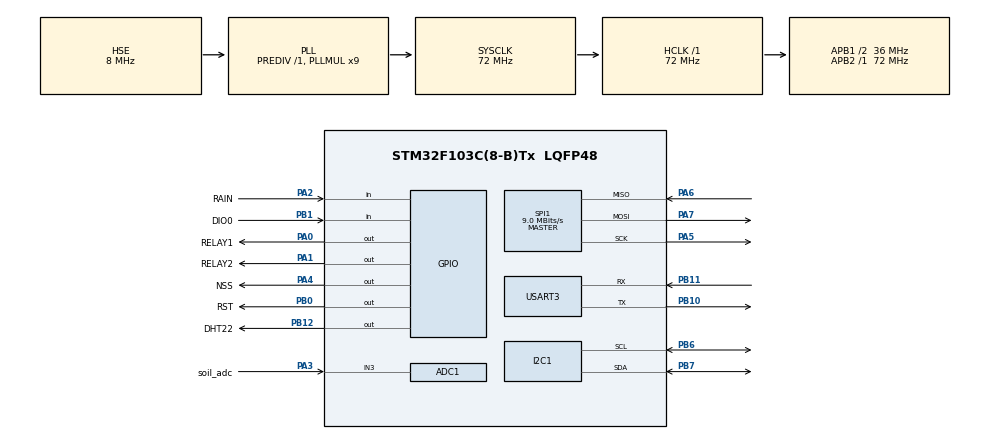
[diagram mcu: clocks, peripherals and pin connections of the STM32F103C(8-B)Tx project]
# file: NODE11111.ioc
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ADC1.Channel-1\#ChannelRegularConversion=ADC_CHANNEL_3
ADC1.ContinuousConvMode=ENABLE
ADC1.NbrOfConversionFlag=1
ADC1.Rank-1\#ChannelRegularConversion=1
ADC1.SamplingTime-1\#ChannelRegularConversion=ADC_SAMPLETIME_1CYCLE_5
ADC1.master=1
FREERTOS.Tasks01=defaultTask,0,128,StartDefaultTask,Default,NULL,Dynamic,NULL,NULL;myTask02,-3,128,StartTask02,Default,NULL,Dynamic,NULL,NULL;myReceived,-3,128,StartTask03,Default,NULL,Dynamic,NULL,NULL
Mcu.Family=STM32F1
Mcu.Name=STM32F103C(8-B)Tx
Mcu.Package=LQFP48
NVIC.I2C1_EV_IRQn=true\:5\:0\:false\:false\:true\:true\:true\:true\:true
NVIC.PriorityGroup=NVIC_PRIORITYGROUP_4
PA0-WKUP.GPIO_Label=RELAY1
PA0-WKUP.Signal=GPIO_Output
PA1.GPIO_Label=RELAY2
PA1.Signal=GPIO_Output
PA13.Mode=Serial_Wire
PA13.Signal=SYS_JTMS-SWDIO
PA14.Mode=Serial_Wire
PA14.Signal=SYS_JTCK-SWCLK
PA2.GPIO_Label=RAIN
PA2.Signal=GPIO_Input
PA3.GPIO_Label=soil_adc
PA3.Signal=ADCx_IN3
PA4.GPIO_Label=NSS
PA4.Signal=GPIO_Output
PA5.Mode=Full_Duplex_Master
PA5.Signal=SPI1_SCK
PA6.Mode=Full_Duplex_Master
PA6.Signal=SPI1_MISO
PA7.Mode=Full_Duplex_Master
PA7.Signal=SPI1_MOSI
PB0.GPIO_Label=RST
PB0.Signal=GPIO_Output
PB1.GPIO_Label=DIO0
PB1.Signal=GPIO_Input
PB10.Mode=Asynchronous
PB10.Signal=USART3_TX
PB11.Mode=Asynchronous
PB11.Signal=USART3_RX
PB12.GPIO_Label=DHT22
PB12.Signal=GPIO_Output
PB6.Mode=I2C
PB6.Signal=I2C1_SCL
PB7.Mode=I2C
PB7.Signal=I2C1_SDA
PD0-OSC_IN.Mode=HSE-External-Oscillator
PD0-OSC_IN.Signal=RCC_OSC_IN
PD1-OSC_OUT.Mode=HSE-External-Oscillator
PD1-OSC_OUT.Signal=RCC_OSC_OUT
ProjectManager.HeapSize=0x200
ProjectManager.StackSize=0x400
ProjectManager.TargetToolchain=STM32CubeIDE
RCC.ADCPresc=RCC_ADCPCLK2_DIV6
RCC.AHBFreq_Value=72000000
RCC.APB1CLKDivider=RCC_HCLK_DIV2
RCC.APB1Freq_Value=36000000
RCC.APB1TimFreq_Value=72000000
RCC.APB2Freq_Value=72000000
RCC.APB2TimFreq_Value=72000000
RCC.HCLKFreq_Value=72000000
RCC.PLLMUL=RCC_PLL_MUL9
RCC.PLLSourceVirtual=RCC_PLLSOURCE_HSE
RCC.SYSCLKFreq_VALUE=72000000
RCC.SYSCLKSource=RCC_SYSCLKSOURCE_PLLCLK
RCC.USBFreq_Value=72000000
SH.ADCx_IN3.0=ADC1_IN3,IN3
SPI1.BaudRatePrescaler=SPI_BAUDRATEPRESCALER_8
SPI1.CalculateBaudRate=9.0 MBits/s
SPI1.Direction=SPI_DIRECTION_2LINES
SPI1.Mode=SPI_MODE_MASTER
SPI1.VirtualType=VM_MASTER
USART3.VirtualMode=VM_ASYNC
VP_FREERTOS_VS_CMSIS_V1.Mode=CMSIS_V1
board=custom

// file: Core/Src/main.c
/* USER CODE BEGIN Header */
/**
 ******************************************************************************
 * @file           : main.c
 * @brief          : Main program body
 ******************************************************************************
 * @attention
 *
 * Copyright (c) 2022 STMicroelectronics.
 * All rights reserved.
 *
 * This software is licensed under terms that can be found in the LICENSE file
 * in the root directory of this software component.
 * If no LICENSE file comes with this software, it is provided AS-IS.
 *
 ******************************************************************************
 */
/* USER CODE END Header */
#include "main.h"
#include "cmsis_os.h"

/* USER CODE BEGIN Includes */
#include <stdio.h>
#include <stdlib.h>
#include <string.h>
#include "DHT22.h"
#include "LoRa.h"
#include "bh1750.h"
/* USER CODE END Includes */

/* USER CODE BEGIN PTD */
void LoRa_Config(void);
/* USER CODE END PTD */

/* USER CODE BEGIN PM */

LoRa myLoRa;
char buffer[512];
char save[512];
uint8_t received_data[20];
uint8_t address_master[3];
int message;
int message_length;

uint8_t Temp, Humi, Bhvfi;
float BH1750_lux;
uint8_t vRain;
uint32_t ADC_Value;
uint32_t giatri;
float soil;

uint8_t TxBuffer[20];
uint8_t RxBuffer[20];
DHT_DataTypedef DHT22_Data;

/* USER CODE END PM */

ADC_HandleTypeDef hadc1;

I2C_HandleTypeDef hi2c1;

SPI_HandleTypeDef hspi1;

UART_HandleTypeDef huart3;

osThreadId defaultTaskHandle;
osThreadId myTask02Handle;
osThreadId myReceivedHandle;

void SystemClock_Config(void);
static void MX_GPIO_Init(void);
static void MX_I2C1_Init(void);
static void MX_SPI1_Init(void);
static void MX_USART3_UART_Init(void);
static void MX_ADC1_Init(void);
void StartDefaultTask(void const *argument);
void StartTask02(void const *argument);
void StartTask03(void const *argument);

/* USER CODE BEGIN PFP */
#ifdef __GNUC__
#define PUTCHAR_PROTOTYPE int __io_putchar(int ch)
#else
#define PUTCHAR_PROTOTYPE int fputc(int ch, FILE* f)
#endif

PUTCHAR_PROTOTYPE {
	HAL_UART_Transmit(&huart3, (uint8_t*) &ch, 1, HAL_MAX_DELAY);
	return ch;
}
/* USER CODE END PFP */

int main(void) {

	/* MCU Configuration--------------------------------------------------------*/

	/* Reset of all peripherals, Initializes the Flash interface and the Systick. */
	HAL_Init();

	/* USER CODE BEGIN Init */
	LoRa_Config();
	/* USER CODE END Init */

	/* Configure the system clock */
	SystemClock_Config();

	/* Initialize all configured peripherals */
	MX_GPIO_Init();
	MX_I2C1_Init();
	MX_SPI1_Init();
	MX_USART3_UART_Init();
	MX_ADC1_Init();
	/* USER CODE BEGIN 2 */
	DHT_Start();
	BH1750_Init(&hi2c1);
	BH1750_SetMode(CONTINUOUS_HIGH_RES_MODE_2);
//	HAL_ADC_Start_IT(&hadc1);

	HAL_GetUIDw0();

	// initialize LoRa Module
	LoRa_reset(&myLoRa);
	LoRa_init(&myLoRa);
	if (LoRa_init(&myLoRa) == LORA_OK)
		printf("Lora init success\n");

	uint32_t MAP(uint32_t giatri, uint32_t InMin, uint32_t InMax,
			uint32_t OutMin, uint32_t OutMax) {
		return ((((giatri - InMin) * (OutMax - OutMin)) / (InMax - InMin))
				+ OutMin);
	}

	// LoRa_startReceiving(&myLoRa);

	/* USER CODE END 2 */

	/* Create the thread(s) */
	/* definition and creation of defaultTask */
	osThreadDef(defaultTask, StartDefaultTask, osPriorityNormal, 0, 128);
	defaultTaskHandle = osThreadCreate(osThread(defaultTask), NULL);

	/* definition and creation of myTask02 */
	osThreadDef(myTask02, StartTask02, osPriorityIdle, 0, 128);
	myTask02Handle = osThreadCreate(osThread(myTask02), NULL);

	/* definition and creation of myReceived */
	osThreadDef(myReceived, StartTask03, osPriorityIdle, 0, 128);
	myReceivedHandle = osThreadCreate(osThread(myReceived), NULL);

	/* Start scheduler */
	osKernelStart();

	/* We should never get here as control is now taken by the scheduler */
	/* Infinite loop */
	while (1) {

	}
}

void SystemClock_Config(void) {
	RCC_OscInitTypeDef RCC_OscInitStruct = { 0 };
	RCC_ClkInitTypeDef RCC_ClkInitStruct = { 0 };
	RCC_PeriphCLKInitTypeDef PeriphClkInit = { 0 };

	/** Initializes the RCC Oscillators according to the specified parameters
	 * in the RCC_OscInitTypeDef structure.
	 */
	RCC_OscInitStruct.OscillatorType = RCC_OSCILLATORTYPE_HSE;
	RCC_OscInitStruct.HSEState = RCC_HSE_ON;
	RCC_OscInitStruct.HSEPredivValue = RCC_HSE_PREDIV_DIV1;
	RCC_OscInitStruct.HSIState = RCC_HSI_ON;
	RCC_OscInitStruct.PLL.PLLState = RCC_PLL_ON;
	RCC_OscInitStruct.PLL.PLLSource = RCC_PLLSOURCE_HSE;
	RCC_OscInitStruct.PLL.PLLMUL = RCC_PLL_MUL9;
	if (HAL_RCC_OscConfig(&RCC_OscInitStruct) != HAL_OK) {
		Error_Handler();
	}

	/** Initializes the CPU, AHB and APB buses clocks
	 */
	RCC_ClkInitStruct.ClockType = RCC_CLOCKTYPE_HCLK | RCC_CLOCKTYPE_SYSCLK
			| RCC_CLOCKTYPE_PCLK1 | RCC_CLOCKTYPE_PCLK2;
	RCC_ClkInitStruct.SYSCLKSource = RCC_SYSCLKSOURCE_PLLCLK;
	RCC_ClkInitStruct.AHBCLKDivider = RCC_SYSCLK_DIV1;
	RCC_ClkInitStruct.APB1CLKDivider = RCC_HCLK_DIV2;
	RCC_ClkInitStruct.APB2CLKDivider = RCC_HCLK_DIV1;

	if (HAL_RCC_ClockConfig(&RCC_ClkInitStruct, FLASH_LATENCY_2) != HAL_OK) {
		Error_Handler();
	}
	PeriphClkInit.PeriphClockSelection = RCC_PERIPHCLK_ADC;
	PeriphClkInit.AdcClockSelection = RCC_ADCPCLK2_DIV6;
	if (HAL_RCCEx_PeriphCLKConfig(&PeriphClkInit) != HAL_OK) {
		Error_Handler();
	}
}

static void MX_ADC1_Init(void) {

	ADC_ChannelConfTypeDef sConfig = { 0 };

	/** Common config
	 */
	hadc1.Instance = ADC1;
	hadc1.Init.ScanConvMode = ADC_SCAN_DISABLE;
	hadc1.Init.ContinuousConvMode = ENABLE;
	hadc1.Init.DiscontinuousConvMode = DISABLE;
	hadc1.Init.ExternalTrigConv = ADC_SOFTWARE_START;
	hadc1.Init.DataAlign = ADC_DATAALIGN_RIGHT;
	hadc1.Init.NbrOfConversion = 1;
	if (HAL_ADC_Init(&hadc1) != HAL_OK) {
		Error_Handler();
	}

	/** Configure Regular Channel
	 */
	sConfig.Channel = ADC_CHANNEL_3;
	sConfig.Rank = ADC_REGULAR_RANK_1;
	sConfig.SamplingTime = ADC_SAMPLETIME_1CYCLE_5;
	if (HAL_ADC_ConfigChannel(&hadc1, &sConfig) != HAL_OK) {
		Error_Handler();
	}

}

static void MX_I2C1_Init(void) {

	hi2c1.Instance = I2C1;
	hi2c1.Init.ClockSpeed = 100000;
	hi2c1.Init.DutyCycle = I2C_DUTYCYCLE_2;
	hi2c1.Init.OwnAddress1 = 0;
	hi2c1.Init.AddressingMode = I2C_ADDRESSINGMODE_7BIT;
	hi2c1.Init.DualAddressMode = I2C_DUALADDRESS_DISABLE;
	hi2c1.Init.OwnAddress2 = 0;
	hi2c1.Init.GeneralCallMode = I2C_GENERALCALL_DISABLE;
	hi2c1.Init.NoStretchMode = I2C_NOSTRETCH_DISABLE;
	if (HAL_I2C_Init(&hi2c1) != HAL_OK) {
		Error_Handler();
	}

}

static void MX_SPI1_Init(void) {

	/* SPI1 parameter configuration*/
	hspi1.Instance = SPI1;
	hspi1.Init.Mode = SPI_MODE_MASTER;
	hspi1.Init.Direction = SPI_DIRECTION_2LINES;
	hspi1.Init.DataSize = SPI_DATASIZE_8BIT;
	hspi1.Init.CLKPolarity = SPI_POLARITY_LOW;
	hspi1.Init.CLKPhase = SPI_PHASE_1EDGE;
	hspi1.Init.NSS = SPI_NSS_SOFT;
	hspi1.Init.BaudRatePrescaler = SPI_BAUDRATEPRESCALER_8;
	hspi1.Init.FirstBit = SPI_FIRSTBIT_MSB;
	hspi1.Init.TIMode = SPI_TIMODE_DISABLE;
	hspi1.Init.CRCCalculation = SPI_CRCCALCULATION_DISABLE;
	hspi1.Init.CRCPolynomial = 10;
	if (HAL_SPI_Init(&hspi1) != HAL_OK) {
		Error_Handler();
	}

}

static void MX_USART3_UART_Init(void) {

	huart3.Instance = USART3;
	huart3.Init.BaudRate = 115200;
	huart3.Init.WordLength = UART_WORDLENGTH_8B;
	huart3.Init.StopBits = UART_STOPBITS_1;
	huart3.Init.Parity = UART_PARITY_NONE;
	huart3.Init.Mode = UART_MODE_TX_RX;
	huart3.Init.HwFlowCtl = UART_HWCONTROL_NONE;
	huart3.Init.OverSampling = UART_OVERSAMPLING_16;
	if (HAL_UART_Init(&huart3) != HAL_OK) {
		Error_Handler();
	}

}

static void MX_GPIO_Init(void) {
	GPIO_InitTypeDef GPIO_InitStruct = { 0 };

	/* GPIO Ports Clock Enable */
	__HAL_RCC_GPIOD_CLK_ENABLE();
	__HAL_RCC_GPIOA_CLK_ENABLE();
	__HAL_RCC_GPIOB_CLK_ENABLE();

	/*Configure GPIO pin Output Level */
	HAL_GPIO_WritePin(GPIOA, RELAY1_Pin | RELAY2_Pin | NSS_Pin, GPIO_PIN_RESET);

	/*Configure GPIO pin Output Level */
	HAL_GPIO_WritePin(GPIOB, RST_Pin | DHT22_Pin, GPIO_PIN_RESET);

	/*Configure GPIO pins : RELAY1_Pin RELAY2_Pin NSS_Pin */
	GPIO_InitStruct.Pin = RELAY1_Pin | RELAY2_Pin | NSS_Pin;
	GPIO_InitStruct.Mode = GPIO_MODE_OUTPUT_PP;
	GPIO_InitStruct.Pull = GPIO_NOPULL;
	GPIO_InitStruct.Speed = GPIO_SPEED_FREQ_LOW;
	HAL_GPIO_Init(GPIOA, &GPIO_InitStruct);

	/*Configure GPIO pin : RAIN_Pin */
	GPIO_InitStruct.Pin = RAIN_Pin;
	GPIO_InitStruct.Mode = GPIO_MODE_INPUT;
	GPIO_InitStruct.Pull = GPIO_NOPULL;
	HAL_GPIO_Init(RAIN_GPIO_Port, &GPIO_InitStruct);

	/*Configure GPIO pins : RST_Pin DHT22_Pin */
	GPIO_InitStruct.Pin = RST_Pin | DHT22_Pin;
	GPIO_InitStruct.Mode = GPIO_MODE_OUTPUT_PP;
	GPIO_InitStruct.Pull = GPIO_NOPULL;
	GPIO_InitStruct.Speed = GPIO_SPEED_FREQ_LOW;
	HAL_GPIO_Init(GPIOB, &GPIO_InitStruct);

	/*Configure GPIO pin : DIO0_Pin */
	GPIO_InitStruct.Pin = DIO0_Pin;
	GPIO_InitStruct.Mode = GPIO_MODE_INPUT;
	GPIO_InitStruct.Pull = GPIO_NOPULL;
	HAL_GPIO_Init(DIO0_GPIO_Port, &GPIO_InitStruct);

}

/* USER CODE BEGIN 4 */
void LoRa_Config(void) {
	myLoRa.CS_port = NSS_GPIO_Port;
	myLoRa.CS_pin = NSS_Pin;
	myLoRa.reset_port = RST_GPIO_Port;
	myLoRa.reset_pin = RST_Pin;
	myLoRa.DIO0_port = DIO0_GPIO_Port;
	myLoRa.DIO0_pin = DIO0_Pin;
	myLoRa.hSPIx = &hspi1;

	myLoRa.frequency = 433;
	myLoRa.spredingFactor = SF_7;
	myLoRa.bandWidth = BW_125KHz;
	myLoRa.crcRate = CR_4_5;
	myLoRa.power = POWER_17db;
	myLoRa.overCurrentProtection = 100;
	myLoRa.preamble = 10;
	myLoRa.synwords = 0xF3;
}
/* USER CODE END 4 */

void StartDefaultTask(void const *argument) {
	/* USER CODE BEGIN 5 */
	/* Infinite loop */
	for (;;) {
		HAL_ADC_Start(&hadc1);
		HAL_ADC_PollForConversion(&hadc1, 100);
		giatri = HAL_ADC_GetValue(&hadc1);
		printf("Gia tri:------------ %d\n", giatri);
		soil = (4096 - giatri) / 20.96;
		vRain = HAL_GPIO_ReadPin(RAIN_GPIO_Port, RAIN_Pin);
		DHT_GetData(&DHT22_Data);
		HAL_Delay(1000);
		Temp = DHT22_Data.Temperature;
		Humi = DHT22_Data.Humidity;
		BH1750_ReadLight(&BH1750_lux);
		TxBuffer[10] = Temp;
		TxBuffer[11] = Humi;
		TxBuffer[12] = BH1750_lux;
		TxBuffer[13] = vRain;
		TxBuffer[14] = soil;
		printf("Nhiet do: %d\n", TxBuffer[10]);
		printf("Do am: %d\n", TxBuffer[11]);
		printf("Cuong do anh sang: %d\n", TxBuffer[12]);
		printf("Troi cos mua hay khong: %d\n", TxBuffer[13]);
		printf("Do am dat: %d\n", TxBuffer[14]);

//		lora_send_msg_t data;
//		memcpy(data.src_addr, (uint8_t*) UID_BASE, sizeof(data.src_addr));
//		memset(data.dest_addr, 0, sizeof(data.dest_addr));
//		data.buf_size = 3;
//		data.buf = TxBuffer;

//		lora_addr_send(&myLoRa, data);
		LoRa_transmit(&myLoRa, (uint8_t*) TxBuffer, 20, 500);
		osDelay(2000);
	}
	/* USER CODE END 5 */
}

void StartTask02(void const *argument) {
	/* USER CODE BEGIN StartTask02 */
	/* Infinite loop */
	for (;;) {
		LoRa_startReceiving(&myLoRa);
		printf("Xin chao TMT\n");
		while (received(&myLoRa) == 1) {
			LoRa_receive(&myLoRa, received_data, 20);
			RxBuffer[0] = received_data[0];
			RxBuffer[1] = received_data[1];
			if (RxBuffer[0] == 1) {

				HAL_GPIO_WritePin(RELAY1_GPIO_Port, RELAY1_Pin, GPIO_PIN_SET);
			} else if (RxBuffer[0] == 2) {

				HAL_GPIO_WritePin(RELAY1_GPIO_Port, RELAY1_Pin, GPIO_PIN_RESET);
			}
			if (RxBuffer[1] == 1) {

				HAL_GPIO_WritePin(RELAY2_GPIO_Port, RELAY2_Pin, GPIO_PIN_SET);
			} else if (RxBuffer[1] == 2) {

				HAL_GPIO_WritePin(RELAY2_GPIO_Port, RELAY2_Pin, GPIO_PIN_RESET);
			}

			printf("Gia tri hien tai cua R0: %d - R1: %d\n", RxBuffer[0],
					RxBuffer[1]);
			LoRa_startReceiving(&myLoRa);
		}

		osDelay(500);
	}
	/* USER CODE END StartTask02 */
}

void StartTask03(void const *argument) {
	for (;;) {
		osDelay(1);
	}
}

void Error_Handler(void) {
	/* USER CODE BEGIN Error_Handler_Debug */
	/* User can add his own implementation to report the HAL error return state
	 */
	__disable_irq();
	while (1) {
	}
	/* USER CODE END Error_Handler_Debug */
}

#ifdef  USE_FULL_ASSERT
/**
  * @brief  Reports the name of the source file and the source line number
  *         where the assert_param error has occurred.
  * @param  file: pointer to the source file name
  * @param  line: assert_param error line source number
  * @retval None
  */
void assert_failed(uint8_t *file, uint32_t line)
{
  /* USER CODE BEGIN 6 */
    /* User can add his own implementation to report the file name and line
       number, ex: printf("Wrong parameters value: file %s on line %d\r\n",
       file, line) */
  /* USER CODE END 6 */
}
#endif /* USE_FULL_ASSERT */
